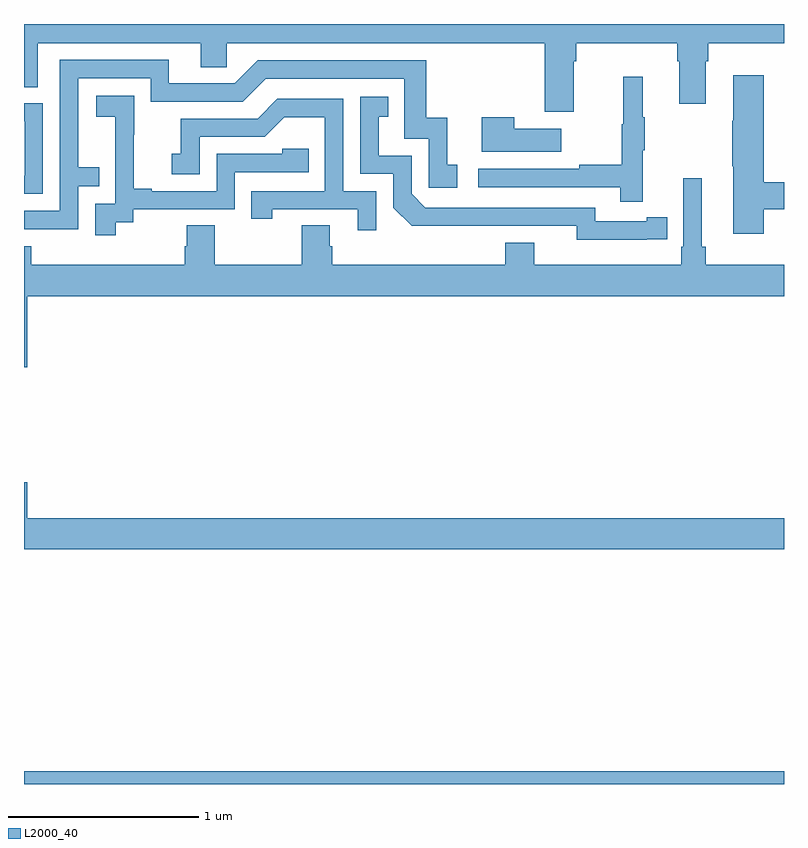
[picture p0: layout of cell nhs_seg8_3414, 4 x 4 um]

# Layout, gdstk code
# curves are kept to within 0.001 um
import gdstk
lib = gdstk.Library(unit=1e-6, precision=1e-09)
def R(c, l, rs):  # rectangles x0, y0, x1, y1
    for r in rs: c.add(gdstk.rectangle(r[:2], r[2:], *l))
def P(c, l, *ps):  # polygons
    for p in ps: c.add(gdstk.Polygon(p, *l))
L2000_40 = (2000, 40)

nhs_seg8_3414 = lib.new_cell('nhs_seg8_3414')
R(nhs_seg8_3414, L2000_40, [(321,1145.9,325,1145.968)])
P(nhs_seg8_3414, L2000_40, [(323.893,1149.704),(323.906,1149.704),(323.906,1149.8),(324.437,1149.8),(324.437,1149.704),(324.449,1149.704),(324.449,1149.48),(324.589,1149.48),(324.589,1149.704),(324.602,1149.704),(324.602,1149.8),(325,1149.8),(325,1149.9),(321,1149.9),(321,1149.568),(321.073,1149.568),(321.073,1149.8),(321.929,1149.8),(321.929,1149.673),(322.068,1149.673),(322.068,1149.8),(323.741,1149.8),(323.741,1149.438),(323.893,1149.438)],
  [(321.285,1149.045),(321.395,1149.045),(321.395,1149.146),(321.285,1149.146),(321.285,1149.615),(321.666,1149.615),(321.666,1149.492),(322.152,1149.492),(322.272,1149.612),(323.001,1149.612),(323.001,1149.297),(323.13,1149.297),(323.13,1149.039),(323.281,1149.039),(323.281,1149.159),(323.228,1149.159),(323.228,1149.406),(323.117,1149.406),(323.117,1149.708),(322.23,1149.708),(322.11,1149.588),(321.763,1149.588),(321.763,1149.711),(321.189,1149.711),(321.189,1148.916),(321,1148.916),(321,1148.82),(321.285,1148.82)],
  [(324.893,1148.926),(325,1148.926),(325,1149.068),(324.893,1149.068),(324.893,1149.631),(324.734,1149.631),(324.734,1149.392),(324.727,1149.392),(324.727,1149.151),(324.734,1149.151),(324.734,1148.796),(324.893,1148.796)],
  [(324.257,1149.235),(324.268,1149.235),(324.268,1149.409),(324.257,1149.409),(324.257,1149.622),(324.154,1149.622),(324.154,1149.372),(324.147,1149.372),(324.147,1149.158),(323.923,1149.158),(323.923,1149.138),(323.391,1149.138),(323.391,1149.042),(324.139,1149.042),(324.139,1148.964),(324.257,1148.964)],
  [(321.484,1148.857),(321.576,1148.857),(321.576,1148.925),(322.11,1148.925),(322.11,1149.12),(322.499,1149.12),(322.499,1149.243),(322.359,1149.243),(322.359,1149.216),(322.014,1149.216),(322.014,1149.021),(321.673,1149.021),(321.673,1149.034),(321.578,1149.034),(321.578,1149.317),(321.579,1149.317),(321.579,1149.523),(321.381,1149.523),(321.381,1149.413),(321.479,1149.413),(321.479,1149.185),(321.48,1149.185),(321.48,1148.955),(321.375,1148.955),(321.375,1148.787),(321.484,1148.787)],
  [(324.278,1148.766),(324.386,1148.766),(324.386,1148.882),(324.278,1148.882),(324.278,1148.862),(324.006,1148.862),(324.006,1148.934),(323.112,1148.934),(323.04,1149.006),(323.04,1149.207),(322.867,1149.207),(322.867,1149.411),(322.916,1149.411),(322.916,1149.517),(322.77,1149.517),(322.77,1149.111),(322.944,1149.111),(322.944,1148.934),(323.042,1148.837),(323.91,1148.838),(323.91,1148.765)],
  [(322.854,1149.021),(322.68,1149.021),(322.68,1149.507),(322.334,1149.507),(322.229,1149.402),(321.826,1149.402),(321.826,1149.217),(321.777,1149.217),(321.777,1149.108),(321.924,1149.108),(321.924,1149.306),(322.266,1149.306),(322.37,1149.41),(322.584,1149.41),(322.584,1149.021),(322.195,1149.021),(322.195,1148.874),(322.306,1148.874),(322.306,1148.925),(322.757,1148.925),(322.757,1148.814),(322.854,1148.814)],
  [(321.099,1149.483),(321,1149.483),(321,1149.387),(321.003,1149.387),(321.003,1149.102),(321,1149.102),(321,1149.006),(321.099,1149.006)],
  [(323.827,1149.349),(323.579,1149.349),(323.579,1149.409),(323.408,1149.409),(323.408,1149.227),(323.827,1149.227)],
  [(321.016,1148.468),(325,1148.468),(325,1148.632),(324.587,1148.632),(324.587,1148.728),(324.568,1148.728),(324.568,1149.088),(324.471,1149.088),(324.471,1148.728),(324.458,1148.728),(324.458,1148.632),(323.686,1148.632),(323.686,1148.749),(323.534,1148.749),(323.534,1148.632),(322.622,1148.632),(322.622,1148.73),(322.609,1148.73),(322.609,1148.84),(322.462,1148.84),(322.462,1148.632),(322.005,1148.632),(322.005,1148.84),(321.857,1148.84),(321.857,1148.73),(321.845,1148.73),(321.845,1148.632),(321.038,1148.632),(321.038,1148.731),(321,1148.731),(321,1148.094),(321.016,1148.094)],
  [(325,1147.3),(321.016,1147.3),(321.016,1147.489),(321,1147.489),(321,1147.136),(325,1147.136)])

lib.write_gds('nhs_seg8_3414.gds')
